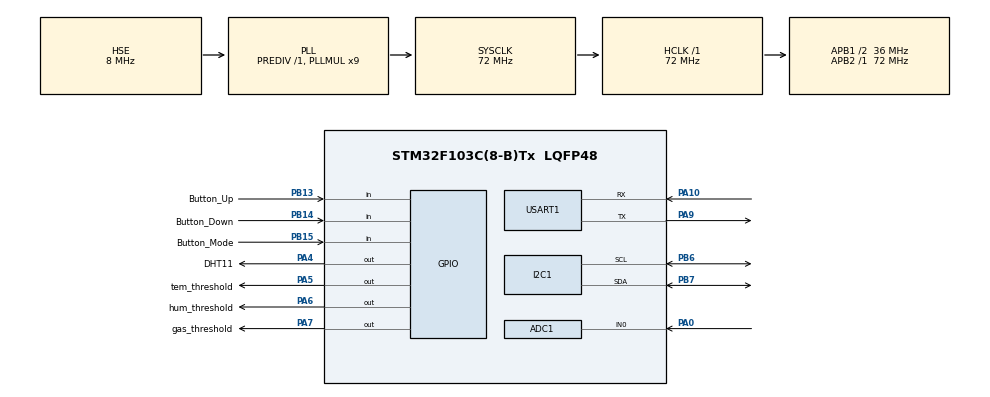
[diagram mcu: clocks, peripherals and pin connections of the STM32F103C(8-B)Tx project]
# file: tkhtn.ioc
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ADC1.Channel-1\#ChannelRegularConversion=ADC_CHANNEL_0
ADC1.NbrOfConversionFlag=1
ADC1.Rank-1\#ChannelRegularConversion=1
ADC1.SamplingTime-1\#ChannelRegularConversion=ADC_SAMPLETIME_1CYCLE_5
ADC1.master=1
Mcu.Family=STM32F1
Mcu.Name=STM32F103C(8-B)Tx
Mcu.Package=LQFP48
NVIC.PriorityGroup=NVIC_PRIORITYGROUP_4
NVIC.USART1_IRQn=true\:1\:0\:true\:false\:true\:true\:true\:true
PA0-WKUP.Signal=ADCx_IN0
PA10.Mode=Asynchronous
PA10.Signal=USART1_RX
PA13.Mode=Serial_Wire
PA13.Signal=SYS_JTMS-SWDIO
PA14.Mode=Serial_Wire
PA14.Signal=SYS_JTCK-SWCLK
PA4.GPIO_Label=DHT11
PA4.Signal=GPIO_Output
PA5.GPIO_Label=tem_threshold
PA5.Signal=GPIO_Output
PA6.GPIO_Label=hum_threshold
PA6.Signal=GPIO_Output
PA7.GPIO_Label=gas_threshold
PA7.Signal=GPIO_Output
PA9.Mode=Asynchronous
PA9.Signal=USART1_TX
PB13.GPIO_Label=Button_Up
PB13.GPIO_PuPd=GPIO_PULLUP
PB13.Signal=GPIO_Input
PB14.GPIO_Label=Button_Down
PB14.GPIO_PuPd=GPIO_PULLUP
PB14.Signal=GPIO_Input
PB15.GPIO_Label=Button_Mode
PB15.GPIO_PuPd=GPIO_PULLUP
PB15.Signal=GPIO_Input
PB6.Mode=I2C
PB6.Signal=I2C1_SCL
PB7.Mode=I2C
PB7.Signal=I2C1_SDA
PD0-OSC_IN.Mode=HSE-External-Oscillator
PD0-OSC_IN.Signal=RCC_OSC_IN
PD1-OSC_OUT.Mode=HSE-External-Oscillator
PD1-OSC_OUT.Signal=RCC_OSC_OUT
ProjectManager.HeapSize=0x200
ProjectManager.StackSize=0x400
ProjectManager.TargetToolchain=MDK-ARM V5.32
RCC.ADCPresc=RCC_ADCPCLK2_DIV6
RCC.AHBFreq_Value=72000000
RCC.APB1CLKDivider=RCC_HCLK_DIV2
RCC.APB1Freq_Value=36000000
RCC.APB1TimFreq_Value=72000000
RCC.APB2Freq_Value=72000000
RCC.APB2TimFreq_Value=72000000
RCC.HCLKFreq_Value=72000000
RCC.PLLMUL=RCC_PLL_MUL9
RCC.PLLSourceVirtual=RCC_PLLSOURCE_HSE
RCC.SYSCLKFreq_VALUE=72000000
RCC.SYSCLKSource=RCC_SYSCLKSOURCE_PLLCLK
RCC.USBFreq_Value=72000000
SH.ADCx_IN0.0=ADC1_IN0,IN0
TIM1.Prescaler=71
USART1.VirtualMode=VM_ASYNC
VP_TIM1_VS_ClockSourceINT.Mode=Internal
board=custom

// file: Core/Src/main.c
/* USER CODE BEGIN Header */
/**
  ******************************************************************************
  * @file           : main.c
  * @brief          : Main program body
  ******************************************************************************
  * @attention
  *
  * Copyright (c) 2023 STMicroelectronics.
  * All rights reserved.
  *
  * This software is licensed under terms that can be found in the LICENSE file
  * in the root directory of this software component.
  * If no LICENSE file comes with this software, it is provided AS-IS.
  *
  ******************************************************************************
  */
/* USER CODE END Header */
#include "main.h"

/* USER CODE BEGIN Includes */
#include <stdio.h>
#include <string.h>
#include <stdint.h>
#include <stdlib.h>
#include "CLCD_I2C.h"
#include "dht11_lib.h"
#include "Button.h"
#include "Uart_lib.h"
/* USER CODE END Includes */

/* USER CODE BEGIN PD */
#define GPIO_PORT_dht GPIOA
#define GPIO_PIN_dht GPIO_PIN_4
#define Button_PORT GPIOB
#define Button_Up_PIN GPIO_PIN_13
#define Button_Down_PIN GPIO_PIN_14
#define Button_Mode_PIN GPIO_PIN_15

/* USER CODE END PD */

ADC_HandleTypeDef hadc1;

I2C_HandleTypeDef hi2c1;

TIM_HandleTypeDef htim1;

UART_HandleTypeDef huart1;

/* USER CODE BEGIN PV */
uint16_t adc_mq2_index;
dht11_index index11;
CLCD_I2C_Name LCD1;
uint32_t time_delay_dht = 10000;
uint32_t time_delay_gas = 10000;
uint32_t time_delay_LCD = 1000;
uint32_t last_time_dht = 0;
uint32_t last_time_gas = 0;
uint32_t last_time_LCD = 0;
uint32_t last_time_sending = 0;
uint8_t data_rx;
uint8_t data[100];
uint8_t data_index = 0;
uint8_t tem_threshold = 25;
uint8_t hum_threshold = 80;
uint16_t gas_threshold = 1000;
mode_button mode_bt = mode_display;
uart_receive_state uart_state;
enum_string string_handle;
uint8_t mode_computer = 1;
Button_Typdef button1;
Button_Typdef button2;
Button_Typdef button3;
void HAL_UART_RxCpltCallback(UART_HandleTypeDef *huart)
{
	if(huart->Instance == huart1.Instance)
	{
		data[data_index] = data_rx;
		data_index++;
		data[data_index]='\0';
		if((data[data_index-1] == 'K')&&(data[data_index-2] == 'O'))
		{
			data_index = 0;
			uart_state = success;
		}
		HAL_UART_Receive_IT(&huart1, &data_rx, 1);
	}
}

/* USER CODE END PV */

void SystemClock_Config(void);
static void MX_GPIO_Init(void);
static void MX_I2C1_Init(void);
static void MX_ADC1_Init(void);
static void MX_USART1_UART_Init(void);
static void MX_TIM1_Init(void);
/* USER CODE BEGIN PFP */
uint16_t get_adc_channel(uint32_t channel)
{
	uint16_t adc;
	ADC_ChannelConfTypeDef sConfig = {0};
  sConfig.Channel = channel;
  sConfig.Rank = ADC_REGULAR_RANK_1;
  sConfig.SamplingTime = ADC_SAMPLETIME_1CYCLE_5;
	if (HAL_ADC_ConfigChannel(&hadc1, &sConfig) != HAL_OK)
	{
		Error_Handler();
	}
	HAL_ADC_Start(&hadc1);
	HAL_ADC_PollForConversion(&hadc1,1000);
	adc = HAL_ADC_GetValue(&hadc1);
	HAL_ADC_Stop(&hadc1);
	return adc;
}

void btn_pressing_callback(Button_Typdef *ButtonX)
{
	if(ButtonX == &button1)
	{
		if(mode_bt == mode_dht)
		{
			if(time_delay_dht > 80000)
				time_delay_dht = 10000;
			else
				time_delay_dht = time_delay_dht + 10000;
		}
		else if(mode_bt == mode_gas)
		{
			if(time_delay_gas > 80000)
				time_delay_gas = 10000;
			else
				time_delay_gas = time_delay_gas + 10000;
		}

	}
	else if(ButtonX == &button2)
	{
		if(mode_bt == mode_dht)
		{
			if(time_delay_dht < 20000)
				time_delay_dht = 90000;
			else
				time_delay_dht = time_delay_dht - 10000;
		}
		else if(mode_bt == mode_gas)
		{
			if(time_delay_gas < 20000)
				time_delay_gas = 90000;
			else
				time_delay_gas = time_delay_gas - 10000;
		}
	}
	else if(ButtonX == &button3)
	{
		if(mode_bt == mode_display)
		{
			CLCD_I2C_Clear(&LCD1);
			CLCD_I2C_SetCursor(&LCD1, 0, 0);
			CLCD_I2C_WriteString(&LCD1,"Dht peri: ");
			mode_bt = mode_dht;
		}
		else if(mode_bt == mode_dht)
		{
			CLCD_I2C_Clear(&LCD1);
			CLCD_I2C_SetCursor(&LCD1, 0, 0);
			CLCD_I2C_WriteString(&LCD1,"Gas peri: ");
			mode_bt = mode_gas;
		}
		else if(mode_bt == mode_gas)
		{
			CLCD_I2C_Clear(&LCD1);
			CLCD_I2C_SetCursor(&LCD1, 0, 0);
			CLCD_I2C_WriteString(&LCD1,"Tem:");
			CLCD_I2C_SetCursor(&LCD1, 8, 0);
			CLCD_I2C_WriteString(&LCD1,"Hum:");
			CLCD_I2C_SetCursor(&LCD1, 0, 1);
			CLCD_I2C_WriteString(&LCD1,"Gas:");
			mode_bt = mode_display;
		}
	}
}

/* USER CODE END PFP */

int main(void)
{

  /* MCU Configuration--------------------------------------------------------*/

  /* Reset of all peripherals, Initializes the Flash interface and the Systick. */
  HAL_Init();

  /* Configure the system clock */
  SystemClock_Config();

  /* Initialize all configured peripherals */
  MX_GPIO_Init();
  MX_I2C1_Init();
  MX_ADC1_Init();
  MX_USART1_UART_Init();
  MX_TIM1_Init();
  /* USER CODE BEGIN 2 */
	HAL_ADCEx_Calibration_Start(&hadc1);
	button_init(&button1,Button_PORT,Button_Up_PIN);
	button_init(&button2,Button_PORT,Button_Down_PIN);
	button_init(&button3,Button_PORT,Button_Mode_PIN);
	HAL_UART_Receive_IT(&huart1,&data_rx,1);
	CLCD_I2C_Init(&LCD1,&hi2c1,0x4e,16,2);
	CLCD_I2C_SetCursor(&LCD1, 0, 0);
	CLCD_I2C_WriteString(&LCD1,"Hum:");
	CLCD_I2C_SetCursor(&LCD1, 8, 0);
	CLCD_I2C_WriteString(&LCD1,"Tem:");
	CLCD_I2C_SetCursor(&LCD1, 0, 1);
	CLCD_I2C_WriteString(&LCD1,"Gas:");

  /* USER CODE END 2 */

  /* Infinite loop */
  while (1)
  {

    /* USER CODE BEGIN 3 */
		if(HAL_GetTick() - last_time_dht > time_delay_dht)
		{
			if(DHT11_Start(&htim1,GPIO_PORT_dht,GPIO_PIN_dht))
			{
					index11 = read_3_dht11(&htim1,GPIO_PORT_dht,GPIO_PIN_dht);
					if(mode_computer == 1)
					{
						get_temperature();
						get_humidity();
					}
			}
			last_time_dht = HAL_GetTick();
		}
		if(HAL_GetTick() - last_time_gas > time_delay_gas)
		{
			adc_mq2_index = get_adc_channel(ADC_CHANNEL_0);
			if(mode_computer == 1)
			{
				get_gas();
			}
			last_time_gas = HAL_GetTick();
		}
		uart_receive_handle(data);
		threshold_handle();
		if(HAL_GetTick() - last_time_sending > 10000)
		{
			send_message_to_computer();
			last_time_sending = HAL_GetTick();
		}
		button_handle(&button1);
		button_handle(&button2);
		button_handle(&button3);
		if(HAL_GetTick() - last_time_LCD > time_delay_LCD)
		{
			send_message_to_LCD();
			last_time_LCD = HAL_GetTick();
		}
  }
  /* USER CODE END 3 */
}

void SystemClock_Config(void)
{
  RCC_OscInitTypeDef RCC_OscInitStruct = {0};
  RCC_ClkInitTypeDef RCC_ClkInitStruct = {0};
  RCC_PeriphCLKInitTypeDef PeriphClkInit = {0};

  /** Initializes the RCC Oscillators according to the specified parameters
  * in the RCC_OscInitTypeDef structure.
  */
  RCC_OscInitStruct.OscillatorType = RCC_OSCILLATORTYPE_HSE;
  RCC_OscInitStruct.HSEState = RCC_HSE_ON;
  RCC_OscInitStruct.HSEPredivValue = RCC_HSE_PREDIV_DIV1;
  RCC_OscInitStruct.HSIState = RCC_HSI_ON;
  RCC_OscInitStruct.PLL.PLLState = RCC_PLL_ON;
  RCC_OscInitStruct.PLL.PLLSource = RCC_PLLSOURCE_HSE;
  RCC_OscInitStruct.PLL.PLLMUL = RCC_PLL_MUL9;
  if (HAL_RCC_OscConfig(&RCC_OscInitStruct) != HAL_OK)
  {
    Error_Handler();
  }

  /** Initializes the CPU, AHB and APB buses clocks
  */
  RCC_ClkInitStruct.ClockType = RCC_CLOCKTYPE_HCLK|RCC_CLOCKTYPE_SYSCLK
                              |RCC_CLOCKTYPE_PCLK1|RCC_CLOCKTYPE_PCLK2;
  RCC_ClkInitStruct.SYSCLKSource = RCC_SYSCLKSOURCE_PLLCLK;
  RCC_ClkInitStruct.AHBCLKDivider = RCC_SYSCLK_DIV1;
  RCC_ClkInitStruct.APB1CLKDivider = RCC_HCLK_DIV2;
  RCC_ClkInitStruct.APB2CLKDivider = RCC_HCLK_DIV1;

  if (HAL_RCC_ClockConfig(&RCC_ClkInitStruct, FLASH_LATENCY_2) != HAL_OK)
  {
    Error_Handler();
  }
  PeriphClkInit.PeriphClockSelection = RCC_PERIPHCLK_ADC;
  PeriphClkInit.AdcClockSelection = RCC_ADCPCLK2_DIV6;
  if (HAL_RCCEx_PeriphCLKConfig(&PeriphClkInit) != HAL_OK)
  {
    Error_Handler();
  }
}

static void MX_ADC1_Init(void)
{

  ADC_ChannelConfTypeDef sConfig = {0};

  /** Common config
  */
  hadc1.Instance = ADC1;
  hadc1.Init.ScanConvMode = ADC_SCAN_DISABLE;
  hadc1.Init.ContinuousConvMode = DISABLE;
  hadc1.Init.DiscontinuousConvMode = DISABLE;
  hadc1.Init.ExternalTrigConv = ADC_SOFTWARE_START;
  hadc1.Init.DataAlign = ADC_DATAALIGN_RIGHT;
  hadc1.Init.NbrOfConversion = 1;
  if (HAL_ADC_Init(&hadc1) != HAL_OK)
  {
    Error_Handler();
  }

  /** Configure Regular Channel
  */
  sConfig.Channel = ADC_CHANNEL_0;
  sConfig.Rank = ADC_REGULAR_RANK_1;
  sConfig.SamplingTime = ADC_SAMPLETIME_1CYCLE_5;
  if (HAL_ADC_ConfigChannel(&hadc1, &sConfig) != HAL_OK)
  {
    Error_Handler();
  }

}

static void MX_I2C1_Init(void)
{

  hi2c1.Instance = I2C1;
  hi2c1.Init.ClockSpeed = 100000;
  hi2c1.Init.DutyCycle = I2C_DUTYCYCLE_2;
  hi2c1.Init.OwnAddress1 = 0;
  hi2c1.Init.AddressingMode = I2C_ADDRESSINGMODE_7BIT;
  hi2c1.Init.DualAddressMode = I2C_DUALADDRESS_DISABLE;
  hi2c1.Init.OwnAddress2 = 0;
  hi2c1.Init.GeneralCallMode = I2C_GENERALCALL_DISABLE;
  hi2c1.Init.NoStretchMode = I2C_NOSTRETCH_DISABLE;
  if (HAL_I2C_Init(&hi2c1) != HAL_OK)
  {
    Error_Handler();
  }

}

static void MX_TIM1_Init(void)
{

  TIM_ClockConfigTypeDef sClockSourceConfig = {0};
  TIM_MasterConfigTypeDef sMasterConfig = {0};

  htim1.Instance = TIM1;
  htim1.Init.Prescaler = 71;
  htim1.Init.CounterMode = TIM_COUNTERMODE_UP;
  htim1.Init.Period = 65535;
  htim1.Init.ClockDivision = TIM_CLOCKDIVISION_DIV1;
  htim1.Init.RepetitionCounter = 0;
  htim1.Init.AutoReloadPreload = TIM_AUTORELOAD_PRELOAD_DISABLE;
  if (HAL_TIM_Base_Init(&htim1) != HAL_OK)
  {
    Error_Handler();
  }
  sClockSourceConfig.ClockSource = TIM_CLOCKSOURCE_INTERNAL;
  if (HAL_TIM_ConfigClockSource(&htim1, &sClockSourceConfig) != HAL_OK)
  {
    Error_Handler();
  }
  sMasterConfig.MasterOutputTrigger = TIM_TRGO_RESET;
  sMasterConfig.MasterSlaveMode = TIM_MASTERSLAVEMODE_DISABLE;
  if (HAL_TIMEx_MasterConfigSynchronization(&htim1, &sMasterConfig) != HAL_OK)
  {
    Error_Handler();
  }

}

static void MX_USART1_UART_Init(void)
{

  huart1.Instance = USART1;
  huart1.Init.BaudRate = 115200;
  huart1.Init.WordLength = UART_WORDLENGTH_8B;
  huart1.Init.StopBits = UART_STOPBITS_1;
  huart1.Init.Parity = UART_PARITY_NONE;
  huart1.Init.Mode = UART_MODE_TX_RX;
  huart1.Init.HwFlowCtl = UART_HWCONTROL_NONE;
  huart1.Init.OverSampling = UART_OVERSAMPLING_16;
  if (HAL_UART_Init(&huart1) != HAL_OK)
  {
    Error_Handler();
  }

}

static void MX_GPIO_Init(void)
{
  GPIO_InitTypeDef GPIO_InitStruct = {0};

  /* GPIO Ports Clock Enable */
  __HAL_RCC_GPIOD_CLK_ENABLE();
  __HAL_RCC_GPIOA_CLK_ENABLE();
  __HAL_RCC_GPIOB_CLK_ENABLE();

  /*Configure GPIO pin Output Level */
  HAL_GPIO_WritePin(GPIOA, DHT11_Pin|tem_threshold_Pin|hum_threshold_Pin|gas_threshold_Pin, GPIO_PIN_RESET);

  /*Configure GPIO pins : DHT11_Pin tem_threshold_Pin hum_threshold_Pin gas_threshold_Pin */
  GPIO_InitStruct.Pin = DHT11_Pin|tem_threshold_Pin|hum_threshold_Pin|gas_threshold_Pin;
  GPIO_InitStruct.Mode = GPIO_MODE_OUTPUT_PP;
  GPIO_InitStruct.Pull = GPIO_NOPULL;
  GPIO_InitStruct.Speed = GPIO_SPEED_FREQ_LOW;
  HAL_GPIO_Init(GPIOA, &GPIO_InitStruct);

  /*Configure GPIO pins : Button_Up_Pin Button_Down_Pin Button_Mode_Pin */
  GPIO_InitStruct.Pin = Button_Up_Pin|Button_Down_Pin|Button_Mode_Pin;
  GPIO_InitStruct.Mode = GPIO_MODE_INPUT;
  GPIO_InitStruct.Pull = GPIO_PULLUP;
  HAL_GPIO_Init(GPIOB, &GPIO_InitStruct);

}

void Error_Handler(void)
{
  __disable_irq();
  while (1)
  {
  }
}
